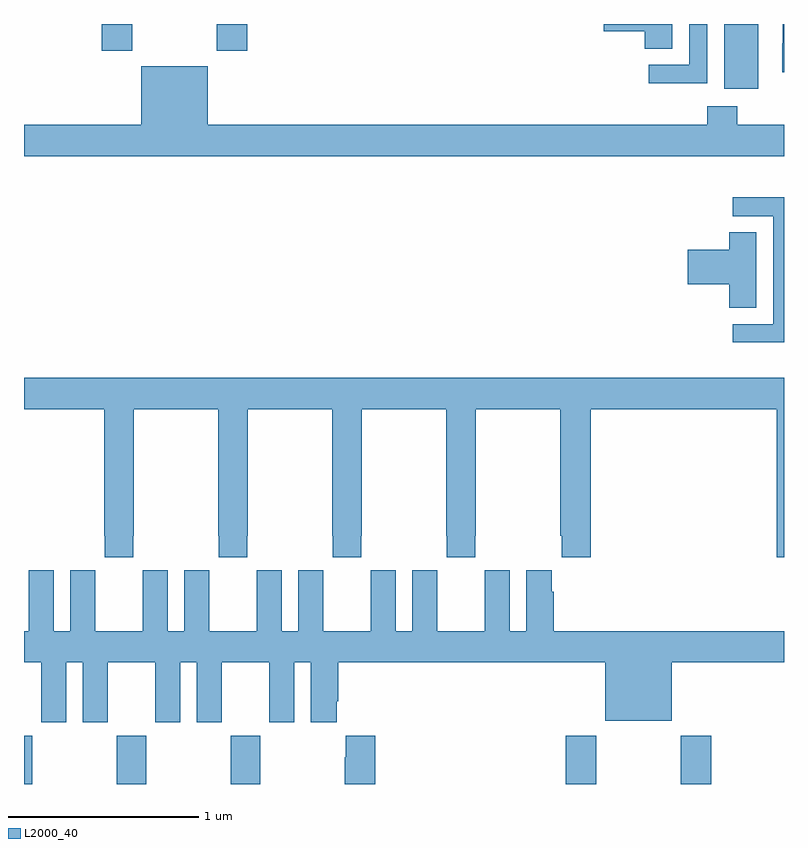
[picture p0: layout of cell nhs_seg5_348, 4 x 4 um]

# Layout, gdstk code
import gdstk
lib = gdstk.Library(unit=1e-6, precision=1e-09)
def R(c, l, rs):  # rectangles x0, y0, x1, y1
    for r in rs: c.add(gdstk.rectangle(r[:2], r[2:], *l))
def P(c, l, *ps):  # polygons
    for p in ps: c.add(gdstk.Polygon(p, *l))
L2000_40 = (2000, 40)

nhs_seg5_348 = lib.new_cell('nhs_seg5_348')
R(nhs_seg5_348, L2000_40, [(133,842.799,133.044,843.052), (133.489,842.799,133.644,843.052), (134.089,842.799,134.244,843.052), (135.851,842.799,136.011,843.052), (136.456,842.799,136.616,843.052), (136.685,846.458,136.864,846.799), (133.409,846.657,133.569,846.799), (134.014,846.657,134.174,846.799)])
P(nhs_seg5_348, L2000_40, [(137,846.799),(136.994,846.799),(136.994,846.698),(136.992,846.698),(136.992,846.544),(137,846.544)],
  [(136.411,846.799),(136.05,846.799),(136.05,846.761),(136.268,846.761),(136.268,846.67),(136.411,846.67)],
  [(136.596,846.799),(136.5,846.799),(136.5,846.585),(136.287,846.585),(136.287,846.487),(136.596,846.487)],
  [(137,846.268),(136.755,846.268),(136.755,846.367),(136.595,846.367),(136.595,846.268),(133.966,846.268),(133.966,846.577),(133.616,846.577),(133.616,846.268),(133,846.268),(133,846.104),(137,846.104)],
  [(137,845.886),(136.731,845.886),(136.731,845.787),(136.944,845.787),(136.944,845.22),(136.731,845.22),(136.731,845.124),(137,845.124)],
  [(136.855,845.702),(136.712,845.702),(136.712,845.612),(136.494,845.612),(136.494,845.429),(136.712,845.429),(136.712,845.305),(136.855,845.305)],
  [(133.575,844.105),(133.578,844.105),(133.578,844.772),(134.023,844.772),(134.023,844.105),(134.025,844.105),(134.025,843.993),(134.175,843.993),(134.175,844.105),(134.178,844.105),(134.178,844.772),(134.623,844.772),(134.623,844.105),(134.625,844.105),(134.625,843.993),(134.775,843.993),(134.775,844.105),(134.778,844.105),(134.778,844.772),(135.223,844.772),(135.223,844.105),(135.225,844.105),(135.225,843.993),(135.375,843.993),(135.375,844.105),(135.378,844.105),(135.378,844.772),(135.823,844.772),(135.823,844.105),(135.829,844.105),(135.829,843.993),(135.983,843.993),(135.983,844.772),(136.961,844.772),(136.961,843.993),(137,843.993),(137,844.936),(133,844.936),(133,844.772),(133.423,844.772),(133.423,844.105),(133.425,844.105),(133.425,843.993),(133.575,843.993)],
  [(133.844,843.925),(133.844,843.604),(133.756,843.604),(133.756,843.925),(133.626,843.925),(133.626,843.812),(133.625,843.812),(133.625,843.604),(133.375,843.604),(133.375,843.812),(133.374,843.812),(133.374,843.925),(133.244,843.925),(133.244,843.604),(133.156,843.604),(133.156,843.925),(133.026,843.925),(133.026,843.812),(133.025,843.812),(133.025,843.604),(133,843.604),(133,843.44),(133.091,843.44),(133.091,843.123),(133.222,843.123),(133.222,843.44),(133.31,843.44),(133.31,843.123),(133.441,843.123),(133.441,843.44),(133.691,843.44),(133.691,843.123),(133.822,843.123),(133.822,843.44),(133.91,843.44),(133.91,843.123),(134.041,843.123),(134.041,843.44),(134.291,843.44),(134.291,843.123),(134.422,843.123),(134.422,843.44),(134.51,843.44),(134.51,843.123),(134.647,843.123),(134.647,843.235),(134.654,843.235),(134.654,843.44),(136.058,843.44),(136.058,843.131),(136.408,843.131),(136.408,843.44),(137,843.44),(137,843.604),(135.788,843.604),(135.788,843.812),(135.778,843.812),(135.778,843.925),(135.644,843.925),(135.644,843.604),(135.556,843.604),(135.556,843.925),(135.426,843.925),(135.426,843.812),(135.425,843.812),(135.425,843.604),(135.175,843.604),(135.175,843.812),(135.174,843.812),(135.174,843.925),(135.044,843.925),(135.044,843.604),(134.956,843.604),(134.956,843.925),(134.826,843.925),(134.826,843.812),(134.825,843.812),(134.825,843.604),(134.575,843.604),(134.575,843.812),(134.574,843.812),(134.574,843.925),(134.444,843.925),(134.444,843.604),(134.356,843.604),(134.356,843.925),(134.226,843.925),(134.226,843.812),(134.225,843.812),(134.225,843.604),(133.975,843.604),(133.975,843.812),(133.974,843.812),(133.974,843.925)],
  [(134.849,843.052),(134.693,843.052),(134.693,842.939),(134.689,842.939),(134.689,842.799),(134.849,842.799)])

lib.write_gds('nhs_seg5_348.gds')
